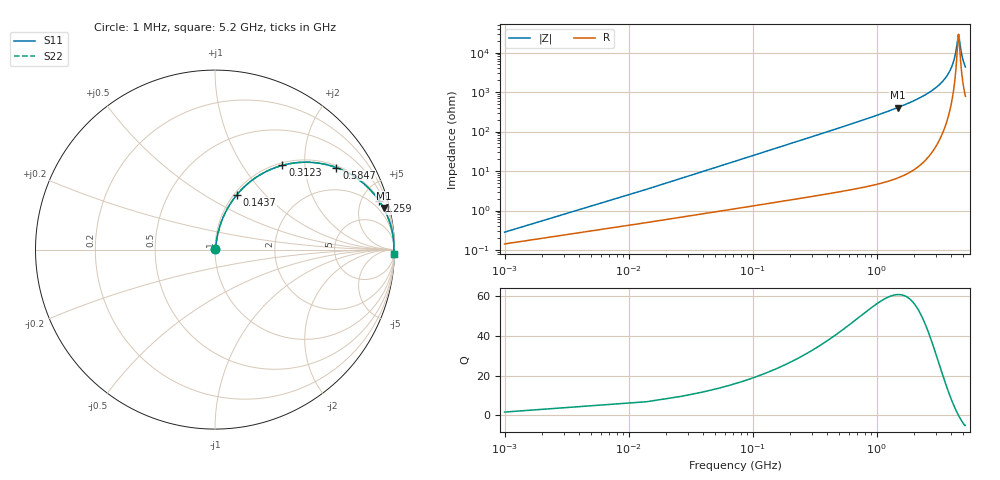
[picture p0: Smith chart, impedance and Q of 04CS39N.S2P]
! Coilcraft 0402CS-39N Chip Inductor
! 22 July 2002
# MHZ S MA R 50
!Freq  MagS11  AngS11  MagS21  AngS21  MagS12  AngS12  MagS22  AngS22
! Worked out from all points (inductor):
!   402 points, 1 MHz to 5.2 GHz, reference 50 ohm
!   read as one part in series: L = 39 nH near 26.94 MHz
!   highest Q = 60.6 at 1.48 GHz (marker M1), where L = 43.5 nH
!   self-resonance near 4.566 GHz
!   S11 on the Smith chart (normalised r, x): 1 MHz: 1.00, +0.00; 143.7 MHz: 1.03, +0.70; 312.3 MHz: 1.05, +1.54; 584.6 MHz: 1.06, +2.91; 1.259 GHz: 1.11, +6.68; 5.2 GHz: 17, -85
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1  0.002833 59.6  0.9986 -0.1  0.9986 -0.1  0.002833 59.6
39.91  0.09689 79.6  0.9871 -5.5  0.9871 -5.5  0.09689 79.6
52.88  0.1277 78.5  0.9825 -7.3  0.9825 -7.3  0.1277 78.5
91.79  0.2173 74.3  0.9641 -12.5  0.9641 -12.5  0.2173 74.3
143.67  0.3281 68.3  0.9302 -19.1  0.9302 -19.1  0.3281 68.3
221.49  0.4711 59.9  0.8654 -28.1  0.8654 -28.1  0.4711 59.9
312.28  0.601 51.4  0.7814 -36.9  0.7814 -36.9  0.601 51.4
584.65  0.816 34.1  0.5601 -54.7  0.5601 -54.7  0.816 34.1
869.99  0.9049 24.1  0.409 -64.8  0.409 -64.8  0.9049 24.1
1259.09  0.9535 16.6  0.2856 -72.4  0.2856 -72.4  0.9535 16.6
1479.58  0.9671 13.8  0.2389 -75.2  0.2389 -75.2  0.9671 13.8
1738.98  0.9773 11.3  0.1962 -77.7  0.1962 -77.7  0.9773 11.3
2607.97  0.992 6.0  0.1049 -82.6  0.1049 -82.6  0.992 6.0
3476.96  0.9961 2.8  0.04955 -84.1  0.04955 -84.1  0.9961 2.8
4008.73  0.9968 1.4  0.02388 -81.5  0.02388 -81.5  0.9968 1.4
4203.28  0.9968 0.9  0.01555 -77.5  0.01555 -77.5  0.9968 0.9
4345.95  0.9967 0.5  0.009839 -70.2  0.009839 -70.2  0.9967 0.5
4540.5  0.9966 0.1  0.003744 -23.7  0.003744 -23.7  0.9966 0.1
4592.38  0.9965 -0.0  0.003512 8.2  0.003512 8.2  0.9965 -0.0
4864.75  0.9962 -0.6  0.01137 70.1  0.01137 70.1  0.9962 -0.6
5020.39  0.9959 -0.9  0.01679 75.5  0.01679 75.5  0.9959 -0.9
5200  0.9956 -1.3  0.02296 78.3  0.02296 78.3  0.9956 -1.3
